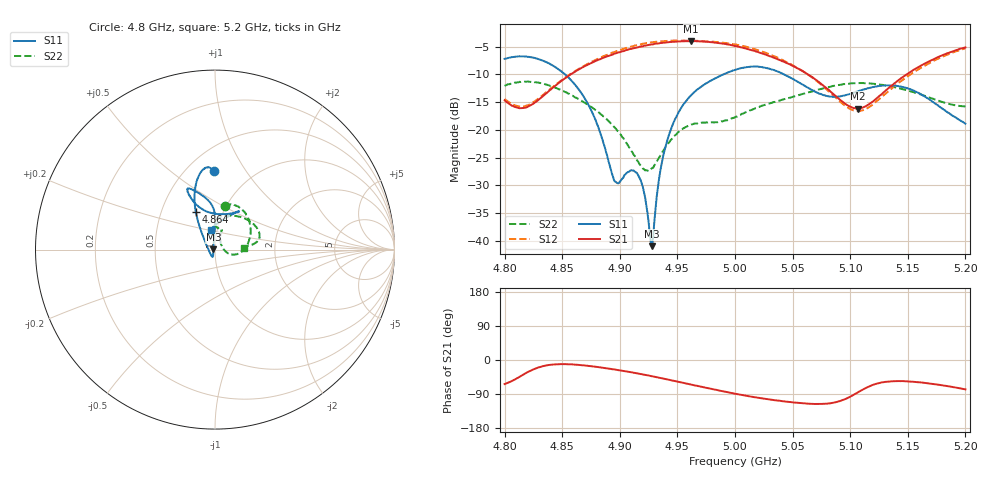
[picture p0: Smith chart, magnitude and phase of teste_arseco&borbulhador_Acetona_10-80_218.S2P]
! Network Analyzer HP8722D
! Hewlett-Packard
! Data name: Linha & Wilkinson
! Saver's name: Rodrigo Anjos
! Comments: Teste da utilização de aquisição
! continua pelo VNA HP8722D
! Time and date: 25/4/2025 17:05
!  Frequency  S11  S21  S12  S22
# HZ  S  MA R 50
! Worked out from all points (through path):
!   401 points, 4.8 GHz to 5.2 GHz, reference 50 ohm
!   highest |S21| = -3.99 dB at 4.962 GHz (marker M1); lowest = -16.1 dB at 5.107 GHz (marker M2)
!   lowest |S11| = -41.0 dB at 4.928 GHz (marker M3), VSWR 1.02, Z = 49.1 + j0.195 ohm
!   |S11| at or under -10 dB: 4.852 GHz to 4.99 GHz (137.4 MHz wide, 2.79 % of centre); 5.043 GHz to end of sweep
!   |S22| runs from -27.4 to -11.3 dB; largest |S21 - S12| = 1.2
!   S11 on the Smith chart (normalised r, x): 4.8 GHz: 0.67, +0.73; 4.864 GHz: 0.75, +0.33; 5.2 GHz: 0.93, +0.21
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4.8e9  0.4368 90.8  0.1848 -63.6  0.19 69.8  0.2493 77.5
4.82e9  0.4548 97.3  0.1615 -31.9  0.167 98.8  0.2735 61.7
4.845e9  0.3624 107.7  0.2545 -11.3  0.2588 119.5  0.2383 34.1
4.864e9  0.2345 117.1  0.3492 -12.9  0.3528 121.0  0.1899 12.2
4.867e9  0.2117 118.8  0.3633 -13.8  0.367 120.7  0.1825 8.6
4.88e9  0.1144 129.0  0.4225 -18.3  0.4331 118.2  0.1482 -4.9
4.896e9  0.0342 -170.4  0.4876 -25.2  0.507 113.1  0.104 -15.5
4.91e9  0.04332 -110.2  0.5366 -32.5  0.563 107.2  0.06467 -12.8
4.917e9  0.03719 -107.0  0.5614 -36.5  0.588 103.5  0.04926 -0.0
4.928e9  0.00895 167.2  0.5893 -42.9  0.6159 97.1  0.04542 41.0
4.934e9  0.03585 101.6  0.6021 -46.8  0.6275 93.3  0.05626 57.3
4.939e9  0.06623 94.1  0.6124 -49.9  0.6331 90.0  0.0681 65.2
4.945e9  0.1051 91.0  0.6202 -53.8  0.6369 86.3  0.08255 69.0
4.962e9  0.2059 90.6  0.6314 -64.9  0.6363 75.4  0.1118 70.7
5e9  0.3476 109.3  0.5689 -88.9  0.5905 50.8  0.1301 87.7
5.029e9  0.3587 115.2  0.4677 -103.7  0.4832 34.1  0.1722 85.6
5.067e9  0.2285 105.8  0.2995 -115.8  0.2967 23.7  0.2222 56.9
5.086e9  0.1983 85.5  0.2079 -112.2  0.2017 28.9  0.2494 39.7
5.107e9  0.2236 64.8  0.1558 -84.8  0.1479 58.3  0.264 24.0
5.134e9  0.2519 58.0  0.2411 -56.6  0.2269 88.8  0.2482 12.5
5.168e9  0.1908 70.2  0.4126 -61.7  0.3963 85.2  0.1967 7.0
5.2e9  0.1139 101.3  0.5542 -77.4  0.5435 70.3  0.1623 3.7
